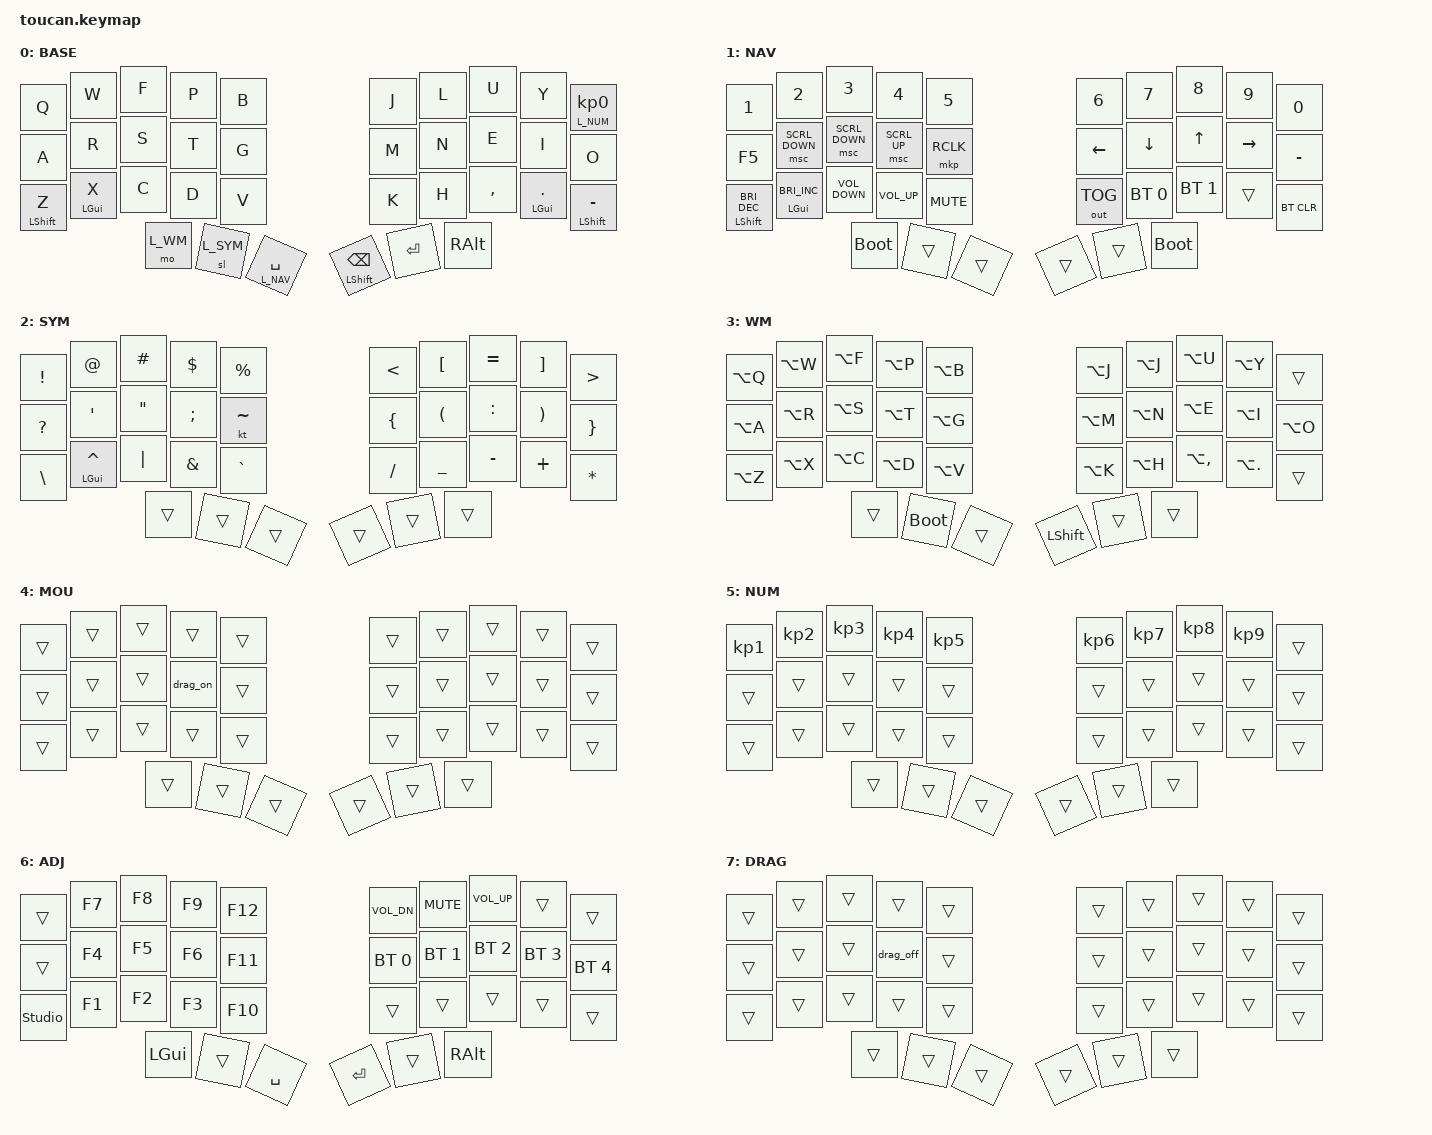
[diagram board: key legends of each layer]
// Hillside's keyboard-driven wheel speed. This does not change the Toucan trackpad.
#define ZMK_POINTING_DEFAULT_SCRL_VAL 30

#include <behaviors.dtsi>
#include <dt-bindings/zmk/keys.h>
#include <dt-bindings/zmk/bt.h>
#include <dt-bindings/zmk/outputs.h>
#include <dt-bindings/zmk/pointing.h>
#include "toucan_36_layout.dtsi"

// toucan.dtsi uses layers 1/2 for scrolling and momentarily activates 4 on touch.
#define L_BASE  0
#define L_NAV   1
#define L_SYM   2
#define L_WM    3
#define L_MOUSE 4
#define L_NUM   5
#define L_ADJ   6
#define L_DRAG  7

// Keep the Backspace/Shift thumb tap-preferred.
&mt {
    flavor = "tap-preferred";
    tapping-term-ms = <170>;
    quick-tap-ms = <100>;
    require-prior-idle-ms = <80>;
};

&msc {
    acceleration-exponent = <2>;
    time-to-max-speed-ms = <800>;
    delay-ms = <200>;
};

/ {
    behaviors {
        // Finger mods resolve on the opposite hand's key-down, including thumbs.
        // No prior-idle or quick-tap gate: a chord can follow typing immediately.
        lmod: left_finger_mod {
            compatible = "zmk,behavior-hold-tap";
            #binding-cells = <2>;
            bindings = <&kp>, <&kp>;
            flavor = "hold-preferred";
            tapping-term-ms = <100>;
            hold-trigger-key-positions = <5 6 7 8 9  15 16 17 18 19  25 26 27 28 29  33 34 35>;
        };
        rmod: right_finger_mod {
            compatible = "zmk,behavior-hold-tap";
            #binding-cells = <2>;
            bindings = <&kp>, <&kp>;
            flavor = "hold-preferred";
            tapping-term-ms = <100>;
            hold-trigger-key-positions = <0 1 2 3 4  10 11 12 13 14  20 21 22 23 24  30 31 32>;
        };

        layer_off: layer_off {
            compatible = "zmk,behavior-toggle-layer";
            #binding-cells = <1>;
            toggle-mode = "off";
            display-name = "Leave layer";
        };
    };

    // Keep the synthetic button press independent of the pad's momentary MOU layer.
    macros {
        drag_on: drag_on {
            compatible = "zmk,behavior-macro";
            #binding-cells = <0>;
            wait-ms = <0>;
            tap-ms = <0>;
            bindings = <&macro_press &mkp LCLK &macro_tap &tog L_DRAG>;
        };
        drag_off: drag_off {
            compatible = "zmk,behavior-macro";
            #binding-cells = <0>;
            wait-ms = <0>;
            tap-ms = <0>;
            bindings = <&macro_release &mkp LCLK &macro_tap &layer_off L_DRAG>;
        };
        drag_cancel: drag_cancel {
            compatible = "zmk,behavior-macro";
            #binding-cells = <0>;
            wait-ms = <0>;
            tap-ms = <0>;
            bindings = <&macro_release &mkp LCLK &macro_tap &layer_off L_DRAG &layer_off L_MOUSE>;
        };
    };

    // Three rows of 5+5 (0..29), then the six thumbs left to right (30..35).
    combos {
        compatible = "zmk,combos";

        combo_esc {
            key-positions = <11 12>; // R + S (same positions on SYM)
            bindings = <&kp ESC>;
            layers = <L_BASE L_SYM>;
        };
        // Left-only recovery if the peripheral cannot send a touch-up.
        combo_leave_mouse {
            key-positions = <11 12>; // R + S
            bindings = <&layer_off L_MOUSE>;
            layers = <L_MOUSE>;
        };
        combo_cancel_drag {
            key-positions = <11 12>; // R + S, even after lifting off the pad
            bindings = <&drag_cancel>;
            layers = <L_DRAG>;
        };
        combo_tab {
            key-positions = <2 1>; // F + W
            bindings = <&kp TAB>;
            layers = <L_BASE>;
        };
        combo_remove_word {
            key-positions = <7 8>; // U + Y
            bindings = <&kp LA(BACKSPACE)>;
            layers = <L_BASE>;
        };
        combo_control {
            key-positions = <31 34>; // SYM thumb + Enter thumb
            bindings = <&kp LEFT_CONTROL>;
            layers = <L_BASE>;
        };
        combo_left_click {
            key-positions = <13 12>; // T + S
            bindings = <&mkp LCLK>;
            layers = <L_BASE L_MOUSE>;
        };
        combo_right_click {
            key-positions = <3 2>; // P + F
            bindings = <&mkp RCLK>;
            layers = <L_BASE L_MOUSE>;
        };
    };

    conditional_layers {
        compatible = "zmk,conditional-layers";
        tri_layer {
            if-layers = <L_NAV L_SYM>;
            then-layer = <L_ADJ>;
        };
    };

    keymap {
        compatible = "zmk,keymap";

        base {
            display-name = "BASE";
            bindings = <
                &kp Q        &kp W       &kp F     &kp P      &kp B              &kp J           &kp L      &kp U      &kp Y         &lt L_NUM KP_N0
                &kp A        &kp R       &kp S     &kp T      &kp G              &kp M           &kp N      &kp E      &kp I         &kp O
                &lmod LSHFT Z  &lmod LGUI X  &kp C     &kp D      &kp V              &kp K           &kp H      &kp COMMA  &rmod LGUI DOT  &rmod LSHFT MINUS
                                         &mo L_WM  &sl L_SYM  &lt L_NAV SPACE    &mt LSHFT BSPC  &kp ENTER  &kp RALT
            >;
        };

        nav {
            display-name = "NAV";
            bindings = <
                &kp N1                      &kp N2                     &kp N3             &kp N4           &kp N5        &kp N6        &kp N7        &kp N8        &kp N9     &kp N0
                &kp F5                      &msc SCRL_DOWN             &msc SCRL_DOWN     &msc SCRL_UP     &mkp RCLK     &kp LEFT      &kp DOWN      &kp UP        &kp RIGHT  &kp MINUS
                &lmod LSHFT C_BRIGHTNESS_DEC  &lmod LGUI C_BRIGHTNESS_INC  &kp C_VOLUME_DOWN  &kp C_VOLUME_UP  &kp K_MUTE    &out OUT_TOG  &bt BT_SEL 0  &bt BT_SEL 1  &trans     &bt BT_CLR
                                                                       &bootloader        &trans           &trans        &trans        &trans        &bootloader
            >;
        };

        sym {
            display-name = "SYM";
            bindings = <
                &kp EXCL       &kp AT          &kp HASH           &kp DOLLAR     &kp PERCENT    &kp LESS_THAN   &kp LEFT_BRACKET      &kp EQUAL  &kp RIGHT_BRACKET      &kp GREATER_THAN
                &kp QUESTION   &kp SQT         &kp DOUBLE_QUOTES  &kp SEMI       &kt TILDE      &kp LEFT_BRACE  &kp LEFT_PARENTHESIS  &kp COLON  &kp RIGHT_PARENTHESIS  &kp RIGHT_BRACE
                &kp BACKSLASH  &lmod LGUI CARET  &kp PIPE           &kp AMPERSAND  &kp GRAVE      &kp SLASH       &kp UNDER             &kp MINUS  &kp PLUS               &kp STAR
                                               &trans             &trans         &trans         &trans          &trans                &trans
            >;
        };

        wm {
            display-name = "WM";
            bindings = <
                &kp LA(Q)  &kp LA(W)  &kp LA(F)  &kp LA(P)    &kp LA(B)    &kp LA(J)       &kp LA(J)  &kp LA(U)      &kp LA(Y)       &trans
                &kp LA(A)  &kp LA(R)  &kp LA(S)  &kp LA(T)    &kp LA(G)    &kp LA(M)       &kp LA(N)  &kp LA(E)      &kp LA(I)       &kp LA(O)
                &kp LA(Z)  &kp LA(X)  &kp LA(C)  &kp LA(D)    &kp LA(V)    &kp LA(K)       &kp LA(H)  &kp LA(COMMA)  &kp LA(PERIOD)  &trans
                                      &trans     &bootloader  &trans       &kp LEFT_SHIFT  &trans     &trans
            >;
        };

        mouse {
            display-name = "MOU";
            bindings = <
                &trans  &trans  &trans  &trans  &trans    &trans  &trans  &trans  &trans  &trans
                &trans  &trans  &trans  &drag_on &trans   &trans  &trans  &trans  &trans  &trans
                &trans  &trans  &trans  &trans  &trans    &trans  &trans  &trans  &trans  &trans
                                &trans  &trans  &trans    &trans  &trans  &trans
            >;
        };

        numbers {
            display-name = "NUM";
            bindings = <
                &kp KP_N1  &kp KP_N2  &kp KP_N3  &kp KP_N4  &kp KP_N5    &kp KP_N6  &kp KP_N7  &kp KP_N8  &kp KP_N9  &trans
                &trans     &trans     &trans     &trans     &trans       &trans     &trans     &trans     &trans     &trans
                &trans     &trans     &trans     &trans     &trans       &trans     &trans     &trans     &trans     &trans
                                      &trans     &trans     &trans       &trans     &trans     &trans
            >;
        };

        adj {
            display-name = "ADJ";
            bindings = <
                &trans          &kp F7  &kp F8    &kp F9  &kp F12      &kp C_VOL_DN  &kp C_MUTE    &kp C_VOL_UP  &trans        &trans
                &trans          &kp F4  &kp F5    &kp F6  &kp F11      &bt BT_SEL 0  &bt BT_SEL 1  &bt BT_SEL 2  &bt BT_SEL 3  &bt BT_SEL 4
                &studio_unlock  &kp F1  &kp F2    &kp F3  &kp F10      &trans        &trans        &trans        &trans        &trans
                                        &kp LGUI  &trans  &kp SPACE    &kp ENTER     &trans        &kp RALT
            >;
        };

        drag {
            display-name = "DRAG";
            bindings = <
                &trans  &trans  &trans  &trans    &trans    &trans  &trans  &trans  &trans  &trans
                &trans  &trans  &trans  &drag_off &trans    &trans  &trans  &trans  &trans  &trans
                &trans  &trans  &trans  &trans    &trans    &trans  &trans  &trans  &trans  &trans
                                &trans  &trans    &trans    &trans  &trans  &trans
            >;
        };

        extra_2 {
            status = "reserved";
        };

        extra_3 {
            status = "reserved";
        };
    };
};
